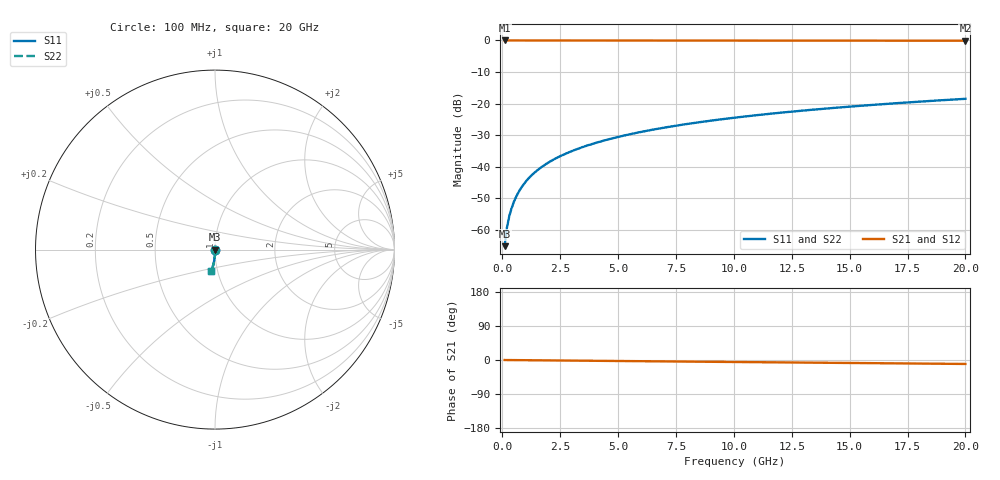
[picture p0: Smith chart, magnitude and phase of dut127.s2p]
! Touchstone file exported from HFSS 2026.1.0
!  File:  C:/ffzhzh/LocalFiles/Ansys_Project_Files/temp_train_TSV_127_1782990080_45328.aedt
!  Generated:  07:02:43 PM Jul  2, 2026
!  Design:  TSV
!  Project:  temp_train_TSV_127_1782990080_45328
! Variables:
!  h_bsmrdl = 2um
!  h_ox = 20um
!  h_rdl = 5um
!  h_sub = 85.71um
!  h_tmrdl = 5um
!  h_tsv = 85.71um
!  h_via = 3um
!  l_bsmrdl = 300um
!  l_sub = 421.22um
!  l_tmrdl = 200um
!  m_sub = 200um
!  pitch = 25.18um
!  r_tsv = 10.61um
!  s_tmrdl = 10um
!  w_bsmrdl = 18um
!  w_sub = 500um
!  w_tmrdl = 12um
!  x_tsv_center1 = 206um
!  x_tsv_center2 = 524um
!  x_tsv_center3 = 736um
!  x_tsv_center4 = 1054um
!  x_tsv_center5 = 1266um
!  x_tsv_center6 = 1584um
# GHz S MA R 50.000000
! Terminal data exported
! Port[1] = TSV1_1_T1
! Port[2] = TSV1_1_T2
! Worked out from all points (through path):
!   200 points, 100 MHz to 20 GHz, reference 50 ohm
!   highest |S21| = 0.00 dB at 100 MHz (marker M1); lowest = -0.1 dB at 20 GHz (marker M2)
!   group delay of S21, straight-line fit = 1.44 ps
!   lowest |S11| = -65.2 dB at 100 MHz (marker M3), VSWR 1.00, Z = 50 - j0.0529 ohm
!   |S11| at or under -10 dB: start of sweep to end of sweep
!   |S22| runs from -65.2 to -18.5 dB; largest |S21 - S12| = 5.6e-15
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0.1  0.000548 -74.8  0.9999 -0.1  0.9999 -0.1  0.000548 -74.8
! Gamma 0 0 0 0
! Port Impedance 50 0 50 0
0.2  0.001078 -81.1  0.9998 -0.1  0.9998 -0.1  0.001078 -81.1
0.3  0.001625 -82.9  0.9998 -0.2  0.9998 -0.2  0.001625 -82.9
0.4  0.002187 -83.8  0.9998 -0.2  0.9998 -0.2  0.002187 -83.8
0.5  0.002759 -84.4  0.9997 -0.3  0.9997 -0.3  0.002759 -84.4
0.7  0.003928 -85.2  0.9996 -0.4  0.9996 -0.4  0.003928 -85.2
0.8  0.004518 -85.6  0.9996 -0.4  0.9996 -0.4  0.004518 -85.6
1  0.005705 -86.2  0.9995 -0.5  0.9995 -0.5  0.005705 -86.2
1.2  0.006895 -86.7  0.9995 -0.6  0.9995 -0.6  0.006895 -86.7
1.4  0.008085 -87.2  0.9995 -0.8  0.9995 -0.8  0.008085 -87.2
1.7  0.009869 -87.8  0.9994 -0.9  0.9994 -0.9  0.009869 -87.8
2  0.01165 -88.2  0.9994 -1.1  0.9994 -1.1  0.01165 -88.2
2.7  0.01582 -89.1  0.9992 -1.4  0.9992 -1.4  0.01582 -89.1
3.5  0.02058 -89.8  0.999 -1.9  0.999 -1.9  0.02058 -89.8
4.2  0.02476 -90.3  0.9989 -2.2  0.9989 -2.2  0.02476 -90.3
5  0.02954 -90.9  0.9987 -2.6  0.9987 -2.6  0.02954 -90.9
6.8  0.04032 -92.1  0.9981 -3.6  0.9981 -3.6  0.04032 -92.1
8.3  0.04931 -93.0  0.9976 -4.4  0.9976 -4.4  0.04931 -93.0
10.1  0.06009 -94.0  0.9969 -5.3  0.9969 -5.3  0.06009 -94.0
13.4  0.07979 -95.9  0.9953 -7.0  0.9953 -7.0  0.07979 -95.9
16.7  0.09937 -97.7  0.9933 -8.7  0.9933 -8.7  0.09937 -97.7
20  0.1188 -99.5  0.991 -10.4  0.991 -10.4  0.1188 -99.5
